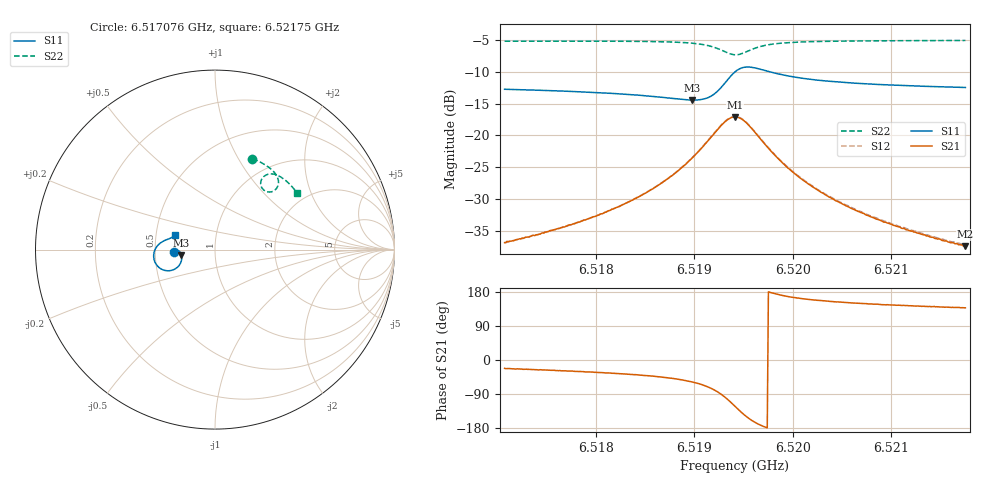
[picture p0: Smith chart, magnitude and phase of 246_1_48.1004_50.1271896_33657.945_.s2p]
#  HZ  S  RI  R  50.00
! Rohde & Schwarz Vector Network Analyzer
! Rohde-Schwarz,ZNB20-2Port,1311601062101988,3.16
! Created: UTC 12/23/2023, 3:59:16 AM
! freq[Hz]  re:S11  im:S11  re:S21  im:S21  re:S12  im:S12  re:S22  im:S22
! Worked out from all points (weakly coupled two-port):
!   401 points, 6.517076 GHz to 6.52175 GHz, reference 50 ohm
!   highest |S21| = -17.10 dB at 6.519413 GHz (marker M1); lowest = -37.4 dB at 6.52175 GHz (marker M2)
!   lowest |S11| = -14.4 dB at 6.51898 GHz (marker M3), VSWR 1.47, Z = 34.2 - j2.32 ohm
!   |S11| at or under -10 dB: start of sweep to 6.519415 GHz; 6.519762 GHz to end of sweep
!   |S22| runs from -7.3 to -5.1 dB; largest |S21 - S12| = 0.0043
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6.5170755e9  -0.2296 -0.0155  0.0134 -0.00542  0.0135 -0.00517  0.2085 0.5073
6.5174144e9  -0.2259 -0.0106  0.0149 -0.0073  0.0153 -0.00672  0.2334 0.4966
6.5178585e9  -0.2197 -0.00549  0.0183 -0.0109  0.0187 -0.0104  0.2662 0.4798
6.5183142e9  -0.2101 -0.0038  0.0236 -0.0179  0.0241 -0.0171  0.3005 0.4579
6.5186414e9  -0.2 -0.0088  0.0293 -0.0287  0.0302 -0.0278  0.3258 0.4357
6.5188167e9  -0.193 -0.017  0.033 -0.0393  0.0344 -0.0385  0.3394 0.4188
6.5189803e9  -0.1867 -0.0327  0.0353 -0.0566  0.0373 -0.0558  0.3504 0.3965
6.5190972e9  -0.1857 -0.053  0.0327 -0.0766  0.0352 -0.0762  0.3541 0.3739
6.519179e9  -0.1915 -0.0742  0.0241 -0.096  0.0272 -0.0958  0.35 0.3539
6.5192491e9  -0.2065 -0.0957  0.00747 -0.1141  0.0108 -0.1148  0.3379 0.3353
6.5193192e9  -0.2366 -0.1142  -0.0222 -0.1276  -0.0185 -0.1294  0.315 0.3221
6.5194127e9  -0.2951 -0.1104  -0.0743 -0.1182  -0.0715 -0.1214  0.2745 0.3298
6.5194711e9  -0.3253 -0.0855  -0.0985 -0.0932  -0.0965 -0.0969  0.2581 0.3511
6.5195295e9  -0.34 -0.0531  -0.1079 -0.0636  -0.107 -0.0671  0.2548 0.3757
6.519623e9  -0.3374 -0.00854  -0.1007 -0.0258  -0.1009 -0.0289  0.269 0.4045
6.5197282e9  -0.3207 0.0212  -0.0831 -0.0029  -0.0838 -0.0054  0.2923 0.4187
6.5199619e9  -0.2881 0.0469  -0.0532 0.0125  -0.0539 0.011  0.3329 0.4191
6.5201956e9  -0.2688 0.0555  -0.037 0.0144  -0.038 0.0133  0.3601 0.4082
6.5205579e9  -0.2514 0.0624  -0.0242 0.0132  -0.025 0.0128  0.3904 0.3876
6.5209786e9  -0.2392 0.0685  -0.0167 0.0115  -0.0173 0.0112  0.4179 0.3626
6.5213759e9  -0.2308 0.074  -0.0125 0.0102  -0.0131 0.00998  0.4398 0.3383
6.5217498e9  -0.2243 0.079  -0.00998 0.00911  -0.0105 0.009  0.4582 0.3151
